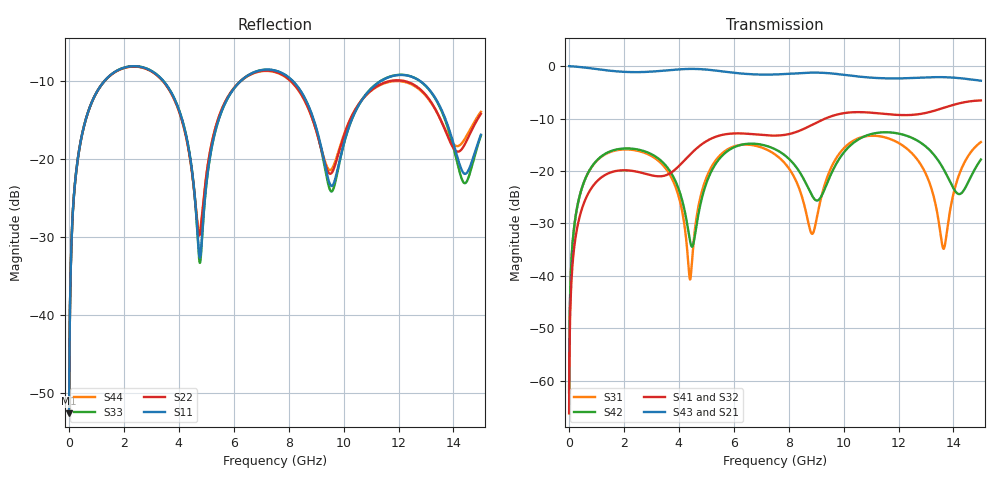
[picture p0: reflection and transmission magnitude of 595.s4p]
! Created with skrf 1.8.0 (http://scikit-rf.org).
# GHz S RI R 50.0
!freq ReS11 ImS11 ReS12 ImS12 ReS13 ImS13
! ReS14 ImS14
! ReS21 ImS21 ReS22 ImS22 ReS23 ImS23
! ReS24 ImS24
! ReS31 ImS31 ReS32 ImS32 ReS33 ImS33
! ReS34 ImS34
! ReS41 ImS41 ReS42 ImS42 ReS43 ImS43
! ReS44 ImS44
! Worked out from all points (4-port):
!   2499 points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, 5 MHz to 15 GHz, reference 50 ohm
!   strongest paths, dB at 5 MHz, 3.476 GHz, 7.19 GHz, 11.1 GHz, 15 GHz:
!     S43: 0.0, -0.9, -1.6, -2.2, -2.8
!     S21: 0.0, -0.9, -1.6, -2.2, -2.8
!     S41: -66.2, -20.9, -13.2, -8.9, -6.5
!     S32: -66.2, -21.0, -13.3, -9.0, -6.5
!     S42: -62.2, -18.7, -15.2, -12.8, -17.8
!     S31: -62.2, -19.2, -15.9, -13.3, -14.5
!   lowest |S11| = -52.5 dB at 5 MHz (marker M1), VSWR 1.00, Z = 50.2 + j0.143 ohm
!   |S11| at or under -10 dB: 3.427 GHz to 6.265 GHz (2.839 GHz wide, 58.6 % of centre); 8.139 GHz to 11.38 GHz (3.242 GHz wide, 33.2 % of centre); 12.77 GHz to end of sweep (the widest 3 of 4)
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0.005  0.00188 0.00143  0.9981 -0.00366  9.61e-05 0.000771  -9.32e-05 -0.00048
       0.9981 -0.00366  0.00188 0.00143  -9.32e-05 -0.00048  9.63e-05 0.000771
       9.61e-05 0.000771  -9.32e-05 -0.00048  0.00188 0.00143  0.9981 -0.00366
       -9.32e-05 -0.00048  9.63e-05 0.000771  0.9981 -0.00366  0.00188 0.00143
0.3126303  0.0304 0.0925  0.9583 -0.2264  0.0143 0.045  -0.0121 -0.0274
           0.9583 -0.2264  0.0303 0.0925  -0.0121 -0.0274  0.0149 0.0449
           0.0143 0.045  -0.0121 -0.0274  0.0305 0.0925  0.9583 -0.2264
           -0.0121 -0.0274  0.0149 0.0449  0.9583 -0.2264  0.0303 0.0925
1.419341  0.2858 0.1694  0.5153 -0.7473  0.1344 0.0631  -0.0945 -0.000211
          0.5153 -0.7473  0.2838 0.1709  -0.0944 -0.000394  0.1401 0.0548
          0.1344 0.0631  -0.0944 -0.000394  0.2858 0.1694  0.5154 -0.7473
          -0.0945 -0.000211  0.1401 0.0548  0.5154 -0.7473  0.2837 0.171
4.764485  0.0232 -0.00191  -0.9337 -0.0633  0.0185 0.0498  -0.0053 0.1739
          -0.9337 -0.0633  0.0326 0.00382  -0.00837 0.1738  -0.00668 0.0447
          0.0185 0.0498  -0.00837 0.1738  0.0216 -0.00183  -0.9336 -0.0635
          -0.0053 0.1739  -0.00668 0.0447  -0.9336 -0.0635  0.0343 0.00383
7.165486  0.3722 0.00651  -0.1082 0.8214  0.151 -0.0572  0.2151 -0.0404
          -0.1082 0.8214  0.367 0.00865  0.2146 -0.0348  0.153 -0.0833
          0.151 -0.0572  0.2146 -0.0348  0.3718 0.00663  -0.1087 0.8219
          0.2151 -0.0404  0.153 -0.0833  -0.1087 0.8219  0.365 0.00893
9.835348  0.0821 0.0463  0.8357 -0.032  0.0485 0.1369  -0.0386 -0.3465
          0.8357 -0.032  0.0982 0.052  -0.027 -0.348  0.0373 0.1242
          0.0485 0.1369  -0.027 -0.348  0.0774 0.0498  0.8357 -0.0313
          -0.0386 -0.3465  0.0373 0.1242  0.8357 -0.0313  0.1027 0.0512
15  0.1208 0.0761  -0.7151 0.1263  0.1237 0.1423  0.1321 0.4515
    -0.7151 0.1263  0.1757 0.082  0.1085 0.4587  0.0913 0.0906
    0.1237 0.1423  0.1085 0.4587  0.1123 0.0847  -0.7152 0.1232
    0.1321 0.4515  0.0913 0.0906  -0.7152 0.1232  0.1843 0.0774
